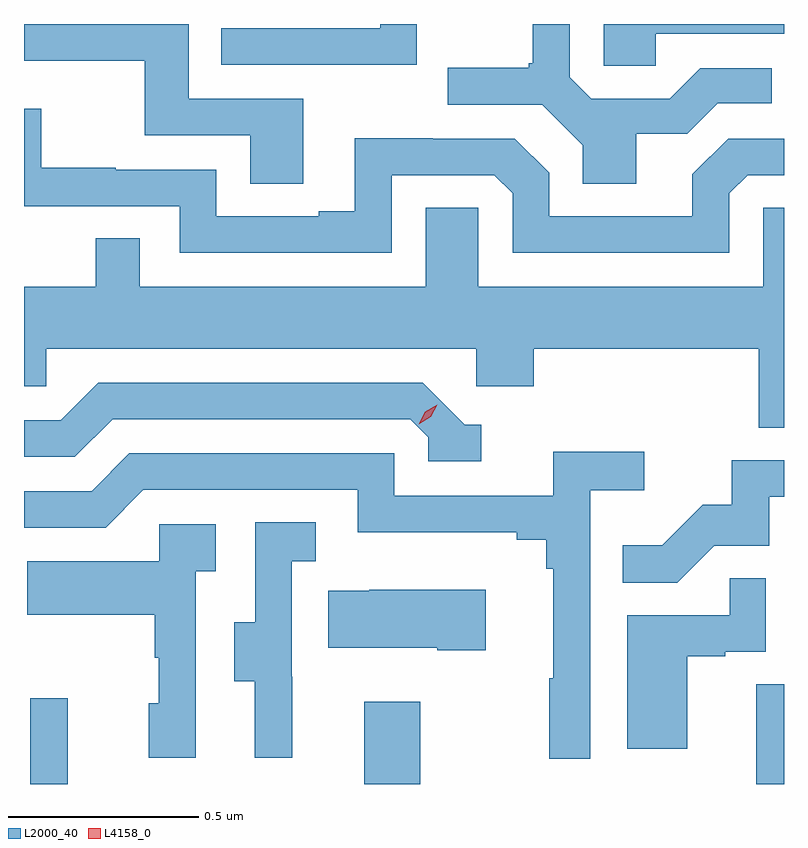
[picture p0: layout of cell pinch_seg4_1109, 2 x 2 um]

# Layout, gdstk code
import gdstk
lib = gdstk.Library(unit=1e-6, precision=1e-09)
def R(c, l, rs):  # rectangles x0, y0, x1, y1
    for r in rs: c.add(gdstk.rectangle(r[:2], r[2:], *l))
def P(c, l, *ps):  # polygons
    for p in ps: c.add(gdstk.Polygon(p, *l))
L2000_40 = (2000, 40)
L4158_0 = (4158, 0)

pinch_seg4_1109 = lib.new_cell('pinch_seg4_1109')
R(pinch_seg4_1109, L2000_40, [(878.835,761.043,878.933,761.269), (879.713,761.043,879.861,761.26), (880.745,761.043,880.818,761.306)])
P(pinch_seg4_1109, L2000_40, [(880.429,762.754),(880.564,762.754),(880.644,762.834),(880.786,762.834),(880.786,762.927),(880.598,762.927),(880.517,762.846),(880.311,762.846),(880.254,762.903),(880.254,763.043),(880.157,763.043),(880.157,762.94),(880.146,762.94),(880.146,762.928),(879.933,762.928),(879.933,762.831),(880.182,762.831),(880.289,762.724),(880.289,762.622),(880.429,762.622)],
  [(880.481,763.017),(880.818,763.017),(880.818,763.043),(880.344,763.043),(880.344,762.933),(880.481,762.933)],
  [(879.553,762.846),(879.252,762.846),(879.252,763.043),(878.818,763.043),(878.818,762.946),(879.136,762.946),(879.136,762.75),(879.413,762.75),(879.413,762.622),(879.553,762.622)],
  [(879.852,763.043),(879.756,763.043),(879.756,763.032),(879.337,763.032),(879.337,762.936),(879.852,762.936)],
  [(879.786,762.645),(880.056,762.645),(880.104,762.597),(880.104,762.441),(880.674,762.441),(880.674,762.597),(880.722,762.645),(880.818,762.645),(880.818,762.741),(880.671,762.741),(880.577,762.647),(880.577,762.537),(880.2,762.537),(880.2,762.651),(880.11,762.741),(879.894,762.741),(879.894,762.743),(879.689,762.743),(879.689,762.55),(879.593,762.55),(879.593,762.537),(879.324,762.537),(879.324,762.66),(879.059,762.66),(879.059,762.665),(878.863,762.665),(878.863,762.82),(878.818,762.82),(878.818,762.564),(879.228,762.564),(879.228,762.441),(879.786,762.441)],
  [(880.818,762.56),(880.764,762.56),(880.764,762.352),(880.014,762.352),(880.014,762.56),(879.875,762.56),(879.875,762.352),(879.123,762.352),(879.123,762.479),(879.007,762.479),(879.007,762.352),(878.818,762.352),(878.818,762.09),(878.877,762.09),(878.877,762.188),(880.008,762.188),(880.008,762.09),(880.16,762.09),(880.16,762.188),(880.751,762.188),(880.751,761.98),(880.818,761.98)],
  [(880.021,761.988),(879.978,761.988),(879.867,762.099),(879.014,762.099),(878.915,762),(878.818,762),(878.818,761.904),(878.952,761.904),(879.051,762.003),(879.834,762.003),(879.882,761.955),(879.882,761.892),(880.021,761.892)],
  [(880.308,761.816),(880.45,761.816),(880.45,761.918),(880.211,761.918),(880.211,761.802),(879.792,761.802),(879.792,761.913),(879.095,761.913),(878.996,761.814),(878.818,761.814),(878.818,761.718),(879.033,761.718),(879.132,761.817),(879.696,761.817),(879.696,761.705),(880.115,761.705),(880.115,761.686),(880.192,761.686),(880.192,761.609),(880.211,761.609),(880.211,761.321),(880.2,761.321),(880.2,761.109),(880.308,761.109)],
  [(880.635,761.67),(880.779,761.67),(880.779,761.799),(880.818,761.799),(880.818,761.895),(880.681,761.895),(880.681,761.778),(880.604,761.778),(880.497,761.671),(880.393,761.671),(880.393,761.572),(880.537,761.572)],
  [(879.524,761.325),(879.522,761.325),(879.522,761.629),(879.586,761.629),(879.586,761.732),(879.426,761.732),(879.426,761.469),(879.371,761.469),(879.371,761.314),(879.425,761.314),(879.425,761.112),(879.524,761.112)],
  [(879.27,761.603),(879.322,761.603),(879.322,761.727),(879.174,761.727),(879.174,761.629),(878.827,761.629),(878.827,761.489),(879.162,761.489),(879.162,761.375),(879.172,761.375),(879.172,761.256),(879.146,761.256),(879.146,761.112),(879.27,761.112)],
  [(880.564,761.379),(880.664,761.379),(880.664,761.391),(880.77,761.391),(880.77,761.585),(880.675,761.585),(880.675,761.487),(880.406,761.487),(880.406,761.136),(880.564,761.136)],
  [(880.033,761.554),(879.727,761.554),(879.727,761.551),(879.619,761.551),(879.619,761.402),(879.905,761.402),(879.905,761.395),(880.033,761.395)])
P(pinch_seg4_1109, L4158_0, [(879.857,761.99),(879.857,761.99),(879.874,762.022),(879.905,762.041),(879.905,762.041),(879.905,762.041),(879.888,762.009),(879.857,761.99)])

lib.write_gds('pinch_seg4_1109.gds')
